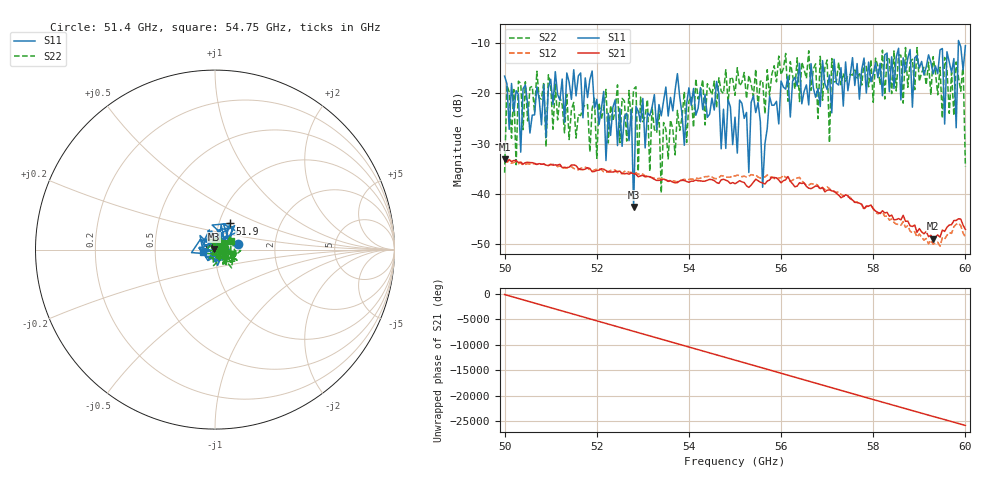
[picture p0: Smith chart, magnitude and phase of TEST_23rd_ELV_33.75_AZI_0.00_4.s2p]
! 11/23/2026 3:05:58 PM
! C:\ANRITSUVNA\TEMP\TEMP.S2P
! CHANNEL.1
! TR.MEASUREMENT
! RAW.DATA
# HZ S RI R 50.0
! FREQ.HZ  S11RE  S11IM  S21RE  S21IM  S12RE  S12IM  S22RE  S22IM
!; PortSelection: Port_12
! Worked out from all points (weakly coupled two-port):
!   201 points, 50 GHz to 60 GHz, reference 50 ohm
!   highest |S21| = -33.13 dB at 50 GHz (marker M1); lowest = -49.0 dB at 59.3 GHz (marker M2)
!   lowest |S11| = -42.7 dB at 52.8 GHz (marker M3), VSWR 1.01, Z = 49.3 + j0.293 ohm
!   |S11| at or under -10 dB: start of sweep to 59.85 GHz; 59.87334 GHz to end of sweep
!   |S22| runs from -39.9 to -10.8 dB; largest |S21 - S12| = 0.033
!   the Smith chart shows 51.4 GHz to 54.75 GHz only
!   S11 on the Smith chart (normalised r, x): 51.4 GHz: 1.28, +0.09; 51.9 GHz: 1.13, +0.34; 54.75 GHz: 0.87, -0.03
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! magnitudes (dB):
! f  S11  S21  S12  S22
! 50 GHz  -16.5  -33.1  -33.2  -35.8
! 50.05 GHz  -18.1  -33.6  -33.7  -18.4
! 51.4 GHz  -17.7  -34.7  -34.5  -29.2
! 51.7 GHz  -24.9  -35.2  -34.8  -22.9
! 51.9 GHz  -15.5  -35.6  -35.6  -23.0
! 52.2 GHz  -33.4  -35.4  -35.7  -19.2
! 52.75 GHz  -23.2  -35.9  -35.8  -26.0
! 52.8 GHz  -42.7  -36.0  -36.1  -19.1
! 52.85 GHz  -22.6  -36.1  -35.8  -18.7
! 52.9 GHz  -23.5  -36.6  -36.2  -35.6
! 53.35 GHz  -22.2  -37.4  -37.0  -23.6
! 53.4 GHz  -24.5  -37.3  -37.0  -39.9
! 54.75 GHz  -23.1  -37.1  -36.5  -20.0
! 55 GHz  -24.7  -38.0  -36.5  -20.4
! 55.6 GHz  -38.7  -37.9  -36.7  -17.4
! 55.75 GHz  -20.6  -37.3  -36.7  -20.4
! 56.7 GHz  -18.9  -38.8  -38.1  -15.1
! 57.05 GHz  -16.3  -39.2  -39.0  -29.8
! 58.35 GHz  -19.6  -44.5  -45.3  -13.3
! 59.3 GHz  -16.1  -49.0  -50.1  -12.6
! 59.95 GHz  -15.3  -46.3  -47.9  -14.1
! 60 GHz  -10.5  -47.2  -48.7  -34.6
